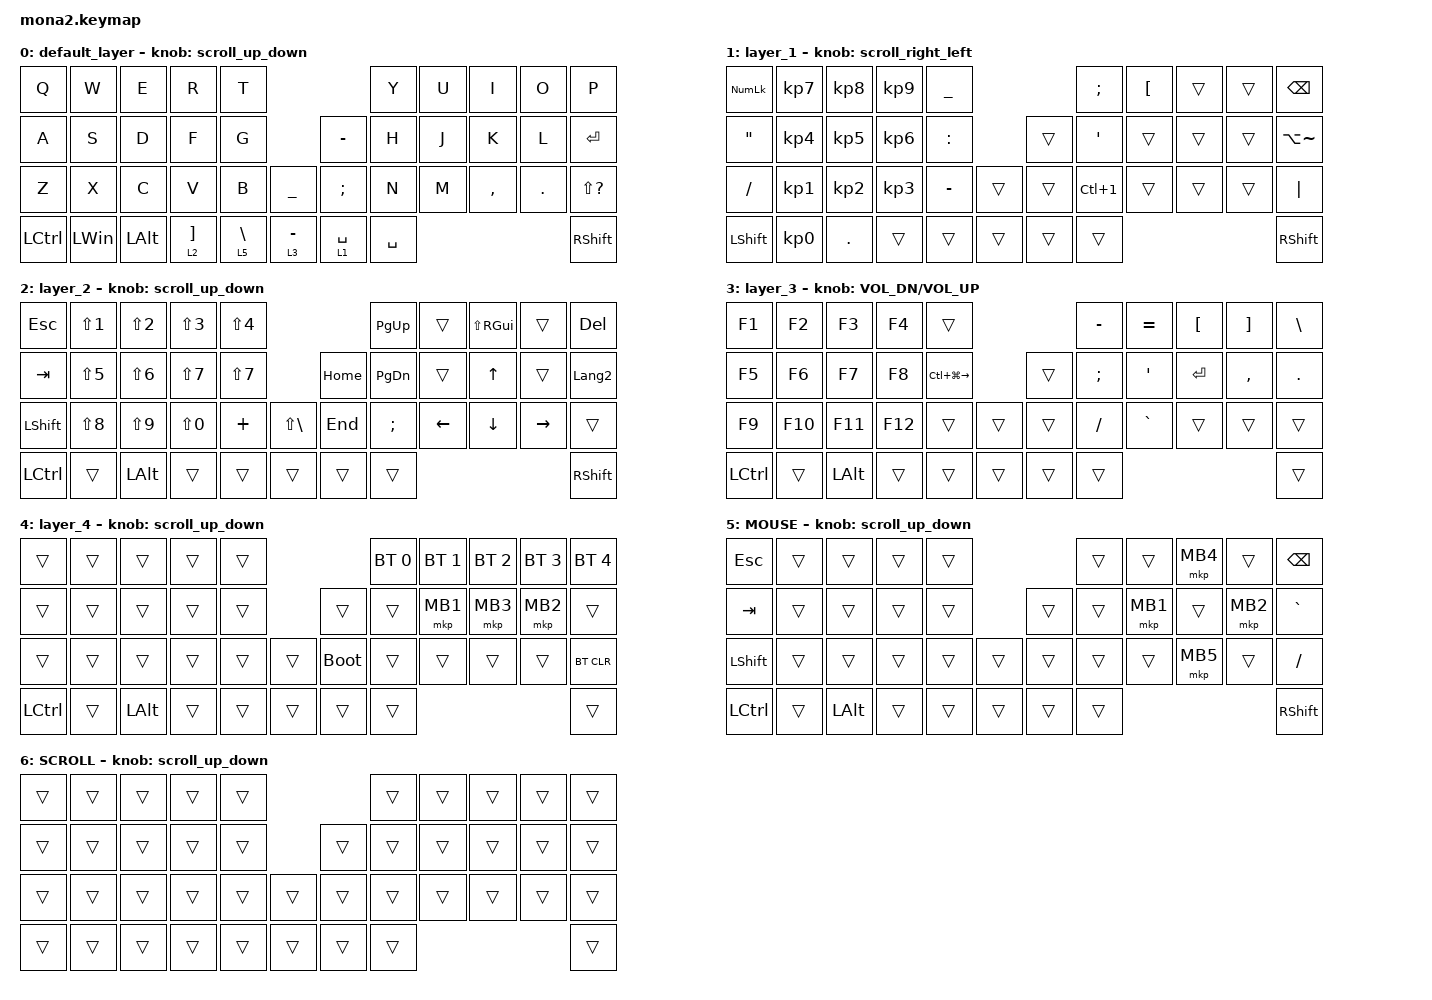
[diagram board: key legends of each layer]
#include <input/processors.dtsi>
#include <dt-bindings/zmk/input_transform.h>
#include <zephyr/dt-bindings/input/input-event-codes.h>
#include <behaviors.dtsi>
#include <dt-bindings/zmk/bt.h>
#include <dt-bindings/zmk/keys.h>
#include <dt-bindings/zmk/pointing.h>

#define ZMK_POINTING_DEFAULT_SCRL_VAL 100
#define MOUSE 5
#define SCROLL 6

&mt {
    flavor = "balanced";
    quick-tap-ms = <0>;
};

&lt {
    quick-tap-ms = <300>;
    flavor = "balanced";
};

/ {
    combos { compatible = "zmk,combos"; };

    macros {
        to_layer_0: to_layer_0 {
            compatible = "zmk,behavior-macro-one-param";
            #binding-cells = <1>;
            bindings = <&to 0 &macro_param_1to1 &kp MACRO_PLACEHOLDER>;
            label = "TO_LAYER_0";
        };
    };

    behaviors {
        lt_to_layer_0: lt_to_layer_0 {
            compatible = "zmk,behavior-hold-tap";
            label = "LAYER_TAP_TO_0";
            bindings = <&mo>, <&to_layer_0>;

            #binding-cells = <2>;
            tapping-term-ms = <200>;
        };

        scroll_up_down: mouse_wheel_up_down {
            compatible = "zmk,behavior-sensor-rotate";
            #sensor-binding-cells = <0>;
            bindings = <&msc SCRL_DOWN>, <&msc SCRL_UP>;

            tap-ms = <20>;
        };

        scroll_right_left: mouse_wheel_right_left {
            compatible = "zmk,behavior-sensor-rotate";
            #sensor-binding-cells = <0>;
            bindings = <&msc SCRL_LEFT>, <&msc SCRL_RIGHT>;

            tap-ms = <20>;
        };
    };

    keymap {
        compatible = "zmk,keymap";

        default_layer {
            bindings = <
&kp Q      &kp W         &kp E     &kp R                &kp T                                     &kp Y      &kp U  &kp I      &kp O    &kp P
&kp A      &kp S         &kp D     &kp F                &kp G                      &kp MINUS      &kp H      &kp J  &kp K      &kp L    &kp ENTER
&kp Z      &kp X         &kp C     &kp V                &kp B       &kp UNDER      &kp SEMICOLON  &kp N      &kp M  &kp COMMA  &kp DOT  &kp LS(QUESTION)
&kp LCTRL  &kp LEFT_WIN  &kp LALT  &lt 2 RIGHT_BRACKET  &lt 5 BSLH  &lt 3 MINUS    &lt 1 SPACE    &kp SPACE                             &kp RSHFT
            >;

            sensor-bindings = <&scroll_up_down>;
        };

        layer_1 {
            bindings = <
&kp KP_NUMLOCK     &kp KP_NUMBER_7  &kp KP_NUMBER_8  &kp KP_NUMBER_9  &kp UNDER                    &kp SEMI    &kp LBKT  &trans  &trans  &kp BSPC
&kp DOUBLE_QUOTES  &kp KP_NUMBER_4  &kp KP_NUMBER_5  &kp KP_NUMBER_6  &kp COLON            &trans  &kp APOS    &trans    &trans  &trans  &kp LA(TILDE)
&kp FSLH           &kp KP_N1        &kp KP_NUMBER_2  &kp KP_NUMBER_3  &kp MINUS  &trans    &trans  &kp LC(N1)  &trans    &trans  &trans  &kp PIPE
&kp LSHFT          &kp KP_NUMBER_0  &kp PERIOD       &trans           &trans     &trans    &trans  &trans                                &kp RSHFT
            >;

            sensor-bindings = <&scroll_right_left>;
        };

        layer_2 {
            bindings = <
&kp ESC    &kp LS(NUMBER_1)  &kp LS(NUMBER_2)  &kp LS(NUMBER_3)  &kp LS(NUMBER_4)                                 &kp PAGE_UP    &trans    &kp LS(RIGHT_GUI)  &trans     &kp DELETE
&kp TAB    &kp LS(N5)        &kp LS(NUMBER_6)  &kp LS(N7)        &kp LS(N7)                             &kp HOME  &kp PAGE_DOWN  &trans    &kp UP_ARROW       &trans     &kp LANGUAGE_2
&kp LSHFT  &kp LS(N8)        &kp LS(N9)        &kp LS(N0)        &kp PLUS          &kp LS(BACKSLASH)    &kp END   &kp SEMI       &kp LEFT  &kp DOWN           &kp RIGHT  &trans
&kp LCTRL  &trans            &kp LALT          &trans            &trans            &trans               &trans    &trans                                                 &kp RSHFT
            >;

            sensor-bindings = <&scroll_up_down>;
        };

        layer_3 {
            bindings = <
&kp F1     &kp F2   &kp F3    &kp F4   &trans                                     &kp MINUS  &kp EQUAL  &kp LBKT   &kp RBKT   &kp BSLH
&kp F5     &kp F6   &kp F7    &kp F8   &kp LC(LG(RIGHT_ARROW))            &trans  &kp SEMI   &kp APOS   &kp ENTER  &kp COMMA  &kp DOT
&kp F9     &kp F10  &kp F11   &kp F12  &trans                   &trans    &trans  &kp FSLH   &kp GRAVE  &trans     &trans     &trans
&kp LCTRL  &trans   &kp LALT  &trans   &trans                   &trans    &trans  &trans                                      &trans
            >;

            sensor-bindings = <&inc_dec_kp C_VOL_DN C_VOL_UP>;
        };

        layer_4 {
            bindings = <
&trans     &trans  &trans    &trans  &trans                         &bt BT_SEL 0  &bt BT_SEL 1  &bt BT_SEL 2  &bt BT_SEL 3  &bt BT_SEL 4
&trans     &trans  &trans    &trans  &trans            &trans       &trans        &mkp MB1      &mkp MB3      &mkp MB2      &trans
&trans     &trans  &trans    &trans  &trans  &trans    &bootloader  &trans        &trans        &trans        &trans        &bt BT_CLR
&kp LCTRL  &trans  &kp LALT  &trans  &trans  &trans    &trans       &trans                                                  &trans
            >;

            sensor-bindings = <&scroll_up_down>;
        };

        MOUSE {
            bindings = <
&kp ESC    &trans  &trans    &trans  &trans                    &trans  &trans    &mkp MB4  &trans    &kp BSPC
&kp TAB    &trans  &trans    &trans  &trans            &trans  &trans  &mkp MB1  &trans    &mkp MB2  &kp GRAVE
&kp LSHFT  &trans  &trans    &trans  &trans  &trans    &trans  &trans  &trans    &mkp MB5  &trans    &kp FSLH
&kp LCTRL  &trans  &kp LALT  &trans  &trans  &trans    &trans  &trans                                &kp RSHFT
            >;

            sensor-bindings = <&scroll_up_down>;
        };

        SCROLL {
            bindings = <
&trans  &trans  &trans  &trans  &trans                    &trans  &trans  &trans  &trans  &trans
&trans  &trans  &trans  &trans  &trans            &trans  &trans  &trans  &trans  &trans  &trans
&trans  &trans  &trans  &trans  &trans  &trans    &trans  &trans  &trans  &trans  &trans  &trans
&trans  &trans  &trans  &trans  &trans  &trans    &trans  &trans                          &trans
            >;

            sensor-bindings = <&scroll_up_down>;
        };
    };
};
